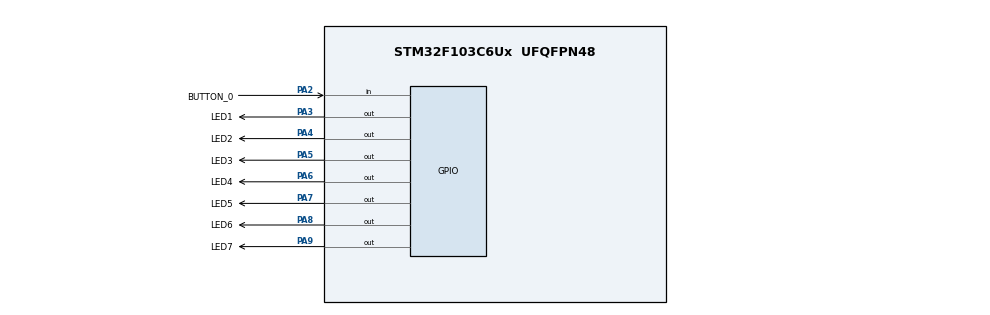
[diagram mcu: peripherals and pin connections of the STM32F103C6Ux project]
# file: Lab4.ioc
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Mcu.Family=STM32F1
Mcu.Name=STM32F103C6Ux
Mcu.Package=UFQFPN48
NVIC.PriorityGroup=NVIC_PRIORITYGROUP_4
NVIC.TIM2_IRQn=true\:0\:0\:false\:false\:true\:true\:true\:true
PA2.GPIO_Label=BUTTON_0
PA2.GPIO_PuPd=GPIO_PULLUP
PA2.Signal=GPIO_Input
PA3.GPIO_Label=LED1
PA3.Signal=GPIO_Output
PA4.GPIO_Label=LED2
PA4.Signal=GPIO_Output
PA5.GPIO_Label=LED3
PA5.Signal=GPIO_Output
PA6.GPIO_Label=LED4
PA6.Signal=GPIO_Output
PA7.GPIO_Label=LED5
PA7.Signal=GPIO_Output
PA8.GPIO_Label=LED6
PA8.Signal=GPIO_Output
PA9.GPIO_Label=LED7
PA9.Signal=GPIO_Output
ProjectManager.HeapSize=0x200
ProjectManager.StackSize=0x400
ProjectManager.TargetToolchain=STM32CubeIDE
RCC.APB1Freq_Value=8000000
RCC.APB2Freq_Value=8000000
TIM2.Period=9
TIM2.Prescaler=7999
VP_TIM2_VS_ClockSourceINT.Mode=Internal
board=custom

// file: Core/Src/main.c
/* USER CODE BEGIN Header */
/**
  ******************************************************************************
  * @file           : main.c
  * @brief          : Main program body
  ******************************************************************************
  * @attention
  *
  * Copyright (c) 2023 STMicroelectronics.
  * All rights reserved.
  *
  * This software is licensed under terms that can be found in the LICENSE file
  * in the root directory of this software component.
  * If no LICENSE file comes with this software, it is provided AS-IS.
  *
  ******************************************************************************
  */
/* USER CODE END Header */
#include "main.h"

/* USER CODE BEGIN Includes */
#include "scheduler.h"
#include "button.h"
/* USER CODE END Includes */

TIM_HandleTypeDef htim2;

void SystemClock_Config(void);
static void MX_GPIO_Init(void);
static void MX_TIM2_Init(void);

/* USER CODE BEGIN 0 */
void toggle1() {
	HAL_GPIO_TogglePin(LED1_GPIO_Port, LED1_Pin);
}
void toggle2() {
	HAL_GPIO_TogglePin(LED2_GPIO_Port, LED2_Pin);
}
void toggle3() {
	HAL_GPIO_TogglePin(LED3_GPIO_Port, LED3_Pin);
}
void toggle4() {
	HAL_GPIO_TogglePin(LED4_GPIO_Port, LED4_Pin);
}
void toggle5() {
	HAL_GPIO_TogglePin(LED5_GPIO_Port, LED5_Pin);
}
void oneShot() {
	HAL_GPIO_TogglePin(LED6_GPIO_Port, LED6_Pin);
}

void buttonToggleLED() {
	if (isButtonPressed(0)) {
		HAL_GPIO_TogglePin(LED7_GPIO_Port, LED7_Pin);
	}
}
/* USER CODE END 0 */

int main(void)
{

  /* MCU Configuration--------------------------------------------------------*/

  /* Reset of all peripherals, Initializes the Flash interface and the Systick. */
  HAL_Init();

  /* Configure the system clock */
  SystemClock_Config();

  /* Initialize all configured peripherals */
  MX_GPIO_Init();
  MX_TIM2_Init();
  /* USER CODE BEGIN 2 */
  HAL_TIM_Base_Start_IT(&htim2);
  /* USER CODE END 2 */

  /* Infinite loop */
  /* USER CODE BEGIN WHILE */
  SCH_Init();
  SCH_Add_Task(toggle1, 2, 500);
  SCH_Add_Task(toggle2, 3, 1000);
  SCH_Add_Task(toggle3, 5, 1500);
  SCH_Add_Task(toggle4, 7, 2000);
  SCH_Add_Task(toggle5, 11, 2500);
  SCH_Add_Task(oneShot, 5000, 0);
  SCH_Add_Task(getKeyInput, 0, 10);
  while (1)
  {
	  buttonToggleLED();
	  SCH_Dispatch_Tasks();
    /* USER CODE END WHILE */

  }
}

void SystemClock_Config(void)
{
  RCC_OscInitTypeDef RCC_OscInitStruct = {0};
  RCC_ClkInitTypeDef RCC_ClkInitStruct = {0};

  /** Initializes the RCC Oscillators according to the specified parameters
  * in the RCC_OscInitTypeDef structure.
  */
  RCC_OscInitStruct.OscillatorType = RCC_OSCILLATORTYPE_HSI;
  RCC_OscInitStruct.HSIState = RCC_HSI_ON;
  RCC_OscInitStruct.HSICalibrationValue = RCC_HSICALIBRATION_DEFAULT;
  RCC_OscInitStruct.PLL.PLLState = RCC_PLL_NONE;
  if (HAL_RCC_OscConfig(&RCC_OscInitStruct) != HAL_OK)
  {
    Error_Handler();
  }

  /** Initializes the CPU, AHB and APB buses clocks
  */
  RCC_ClkInitStruct.ClockType = RCC_CLOCKTYPE_HCLK|RCC_CLOCKTYPE_SYSCLK
                              |RCC_CLOCKTYPE_PCLK1|RCC_CLOCKTYPE_PCLK2;
  RCC_ClkInitStruct.SYSCLKSource = RCC_SYSCLKSOURCE_HSI;
  RCC_ClkInitStruct.AHBCLKDivider = RCC_SYSCLK_DIV1;
  RCC_ClkInitStruct.APB1CLKDivider = RCC_HCLK_DIV1;
  RCC_ClkInitStruct.APB2CLKDivider = RCC_HCLK_DIV1;

  if (HAL_RCC_ClockConfig(&RCC_ClkInitStruct, FLASH_LATENCY_0) != HAL_OK)
  {
    Error_Handler();
  }
}

static void MX_TIM2_Init(void)
{

  TIM_ClockConfigTypeDef sClockSourceConfig = {0};
  TIM_MasterConfigTypeDef sMasterConfig = {0};

  htim2.Instance = TIM2;
  htim2.Init.Prescaler = 7999;
  htim2.Init.CounterMode = TIM_COUNTERMODE_UP;
  htim2.Init.Period = 9;
  htim2.Init.ClockDivision = TIM_CLOCKDIVISION_DIV1;
  htim2.Init.AutoReloadPreload = TIM_AUTORELOAD_PRELOAD_DISABLE;
  if (HAL_TIM_Base_Init(&htim2) != HAL_OK)
  {
    Error_Handler();
  }
  sClockSourceConfig.ClockSource = TIM_CLOCKSOURCE_INTERNAL;
  if (HAL_TIM_ConfigClockSource(&htim2, &sClockSourceConfig) != HAL_OK)
  {
    Error_Handler();
  }
  sMasterConfig.MasterOutputTrigger = TIM_TRGO_RESET;
  sMasterConfig.MasterSlaveMode = TIM_MASTERSLAVEMODE_DISABLE;
  if (HAL_TIMEx_MasterConfigSynchronization(&htim2, &sMasterConfig) != HAL_OK)
  {
    Error_Handler();
  }

}

static void MX_GPIO_Init(void)
{
  GPIO_InitTypeDef GPIO_InitStruct = {0};

  /* GPIO Ports Clock Enable */
  __HAL_RCC_GPIOA_CLK_ENABLE();

  /*Configure GPIO pin Output Level */
  HAL_GPIO_WritePin(GPIOA, LED1_Pin|LED2_Pin|LED3_Pin|LED4_Pin
                          |LED5_Pin|LED6_Pin|LED7_Pin, GPIO_PIN_RESET);

  /*Configure GPIO pin : BUTTON_0_Pin */
  GPIO_InitStruct.Pin = BUTTON_0_Pin;
  GPIO_InitStruct.Mode = GPIO_MODE_INPUT;
  GPIO_InitStruct.Pull = GPIO_PULLUP;
  HAL_GPIO_Init(BUTTON_0_GPIO_Port, &GPIO_InitStruct);

  /*Configure GPIO pins : LED1_Pin LED2_Pin LED3_Pin LED4_Pin
                           LED5_Pin LED6_Pin LED7_Pin */
  GPIO_InitStruct.Pin = LED1_Pin|LED2_Pin|LED3_Pin|LED4_Pin
                          |LED5_Pin|LED6_Pin|LED7_Pin;
  GPIO_InitStruct.Mode = GPIO_MODE_OUTPUT_PP;
  GPIO_InitStruct.Pull = GPIO_NOPULL;
  GPIO_InitStruct.Speed = GPIO_SPEED_FREQ_LOW;
  HAL_GPIO_Init(GPIOA, &GPIO_InitStruct);

}

/* USER CODE BEGIN 4 */
void HAL_TIM_PeriodElapsedCallback(TIM_HandleTypeDef *htim) {
	SCH_Update();
	//getKeyInput();
}
/* USER CODE END 4 */

void Error_Handler(void)
{
  __disable_irq();
  while (1)
  {
  }
}
